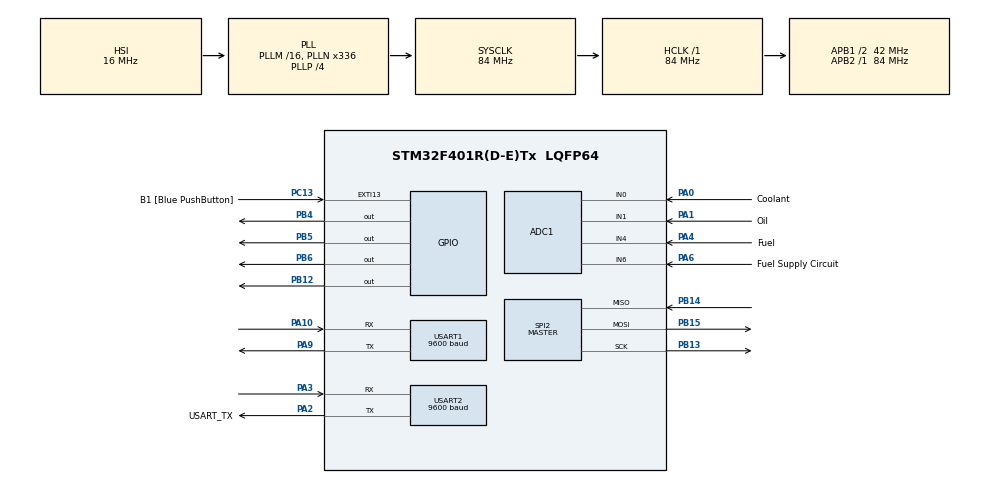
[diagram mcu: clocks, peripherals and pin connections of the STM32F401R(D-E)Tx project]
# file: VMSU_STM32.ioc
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ADC1.Channel-0\#ChannelRegularConversion=ADC_CHANNEL_0
ADC1.Channel-5\#ChannelRegularConversion=ADC_CHANNEL_1
ADC1.Channel-6\#ChannelRegularConversion=ADC_CHANNEL_4
ADC1.Channel-7\#ChannelRegularConversion=ADC_CHANNEL_6
ADC1.Channel-8\#ChannelRegularConversion=ADC_CHANNEL_VREFINT
ADC1.ClockPrescaler=ADC_CLOCK_SYNC_PCLK_DIV4
ADC1.ContinuousConvMode=ENABLE
ADC1.DMAContinuousRequests=ENABLE
ADC1.NbrOfConversion=5
ADC1.NbrOfConversionFlag=1
ADC1.Rank-0\#ChannelRegularConversion=1
ADC1.Rank-5\#ChannelRegularConversion=2
ADC1.Rank-6\#ChannelRegularConversion=3
ADC1.Rank-7\#ChannelRegularConversion=4
ADC1.Rank-8\#ChannelRegularConversion=5
ADC1.SamplingTime-0\#ChannelRegularConversion=ADC_SAMPLETIME_84CYCLES
ADC1.SamplingTime-5\#ChannelRegularConversion=ADC_SAMPLETIME_84CYCLES
ADC1.SamplingTime-6\#ChannelRegularConversion=ADC_SAMPLETIME_84CYCLES
ADC1.SamplingTime-7\#ChannelRegularConversion=ADC_SAMPLETIME_84CYCLES
ADC1.SamplingTime-8\#ChannelRegularConversion=ADC_SAMPLETIME_3CYCLES
ADC1.master=1
Dma.ADC1.0.Direction=DMA_PERIPH_TO_MEMORY
Dma.ADC1.0.FIFOMode=DMA_FIFOMODE_DISABLE
Dma.ADC1.0.Instance=DMA2_Stream0
Dma.ADC1.0.MemDataAlignment=DMA_MDATAALIGN_HALFWORD
Dma.ADC1.0.MemInc=DMA_MINC_ENABLE
Dma.ADC1.0.Mode=DMA_CIRCULAR
Dma.ADC1.0.PeriphDataAlignment=DMA_PDATAALIGN_HALFWORD
Dma.ADC1.0.PeriphInc=DMA_PINC_DISABLE
Dma.ADC1.0.Priority=DMA_PRIORITY_LOW
Dma.Request0=ADC1
Mcu.Family=STM32F4
Mcu.Name=STM32F401R(D-E)Tx
Mcu.Package=LQFP64
NVIC.DMA2_Stream0_IRQn=true\:0\:0\:false\:false\:true\:false\:true\:true
NVIC.PriorityGroup=NVIC_PRIORITYGROUP_4
NVIC.USART1_IRQn=true\:0\:0\:false\:false\:true\:true\:true\:true
PA0-WKUP.GPIO_Label=Coolant
PA0-WKUP.Signal=ADCx_IN0
PA1.GPIO_Label=Oil
PA1.Signal=ADCx_IN1
PA10.Mode=Asynchronous
PA10.Signal=USART1_RX
PA13.GPIO_Label=TMS
PA13.Signal=SYS_JTMS-SWDIO
PA14.GPIO_Label=TCK
PA14.Signal=SYS_JTCK-SWCLK
PA2.GPIO_Label=USART_TX
PA2.GPIO_Mode=GPIO_MODE_AF_PP
PA2.GPIO_PuPd=GPIO_NOPULL
PA2.GPIO_Speed=GPIO_SPEED_FREQ_VERY_HIGH
PA2.Mode=Asynchronous
PA2.Signal=USART2_TX
PA3.Mode=Asynchronous
PA3.Signal=USART2_RX
PA4.GPIO_Label=Fuel
PA4.Signal=ADCx_IN4
PA6.GPIO_Label=Fuel Supply Circuit
PA6.Signal=ADCx_IN6
PA9.Mode=Asynchronous
PA9.Signal=USART1_TX
PB12.Signal=GPIO_Output
PB13.Mode=Full_Duplex_Master
PB13.Signal=SPI2_SCK
PB14.Mode=Full_Duplex_Master
PB14.Signal=SPI2_MISO
PB15.Mode=Full_Duplex_Master
PB15.Signal=SPI2_MOSI
PB4.Signal=GPIO_Output
PB5.Signal=GPIO_Output
PB6.Signal=GPIO_Output
PC13-ANTI_TAMP.GPIO_Label=B1 [Blue PushButton]
PC13-ANTI_TAMP.GPIO_ModeDefaultEXTI=GPIO_MODE_IT_FALLING
PC13-ANTI_TAMP.GPIO_PuPd=GPIO_NOPULL
PC13-ANTI_TAMP.Signal=GPXTI13
PC14-OSC32_IN.Mode=LSE-External-Oscillator
PC14-OSC32_IN.Signal=RCC_OSC32_IN
PC15-OSC32_OUT.Mode=LSE-External-Oscillator
PC15-OSC32_OUT.Signal=RCC_OSC32_OUT
PH0\ -\ OSC_IN.Mode=HSE-External-Clock-Source
PH0\ -\ OSC_IN.Signal=RCC_OSC_IN
PH1\ -\ OSC_OUT.Mode=HSE-External-Clock-Source
PH1\ -\ OSC_OUT.Signal=RCC_OSC_OUT
ProjectManager.HeapSize=0x200
ProjectManager.StackSize=0x400
ProjectManager.TargetToolchain=STM32CubeIDE
RCC.48MHZClocksFreq_Value=48000000
RCC.AHBFreq_Value=84000000
RCC.APB1CLKDivider=RCC_HCLK_DIV2
RCC.APB1Freq_Value=42000000
RCC.APB1TimFreq_Value=84000000
RCC.APB2Freq_Value=84000000
RCC.APB2TimFreq_Value=84000000
RCC.CortexFreq_Value=84000000
RCC.HCLKFreq_Value=84000000
RCC.HSE_VALUE=8000000
RCC.HSI_VALUE=16000000
RCC.PLLN=336
RCC.PLLP=RCC_PLLP_DIV4
RCC.PLLQ=7
RCC.SYSCLKFreq_VALUE=84000000
RCC.SYSCLKSource=RCC_SYSCLKSOURCE_PLLCLK
RCC.VCOOutputFreq_Value=336000000
SH.ADCx_IN0.0=ADC1_IN0,IN0
SH.ADCx_IN1.0=ADC1_IN1,IN1
SH.ADCx_IN4.0=ADC1_IN4,IN4
SH.ADCx_IN6.0=ADC1_IN6,IN6
SPI2.BaudRatePrescaler=SPI_BAUDRATEPRESCALER_256
SPI2.Direction=SPI_DIRECTION_2LINES
SPI2.Mode=SPI_MODE_MASTER
SPI2.VirtualType=VM_MASTER
USART1.BaudRate=9600
USART1.VirtualMode=VM_ASYNC
USART2.BaudRate=9600
USART2.VirtualMode=VM_ASYNC
VP_ADC1_Vref_Input.Mode=IN-Vrefint
VP_FATFS_VS_Generic.Mode=User_defined
board=NUCLEO-F401RE

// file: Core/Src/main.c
/* USER CODE BEGIN Header */
/**
 ******************************************************************************
 * @file           : main.c
 * @brief          : Main program body
 ******************************************************************************
 * @attention
 *
 * Copyright (c) 2025 STMicroelectronics.
 * All rights reserved.
 *
 * This software is licensed under terms that can be found in the LICENSE file
 * in the root directory of this software component.
 * If no LICENSE file comes with this software, it is provided AS-IS.
 *
 *******************************************************************************
 *
 * Vehicle Monitoring & Switching Unit
 * Wichita State University Senior Design Project, Spring 2026
 *
 *		Electrical Engineering: Silas Salano
 *		Computer Engineering: David Koffi, William Dirnbeck
 *		Programming Team: David Koffi, William Dirnbeck
 *
 *VDBL
 *
 ******************************************************************************
 */
/* USER CODE END Header */
#include "main.h"
#include "fatfs.h"

/* USER CODE BEGIN Includes */
#include "hardware_config.h"
#include "string.h"
#include "logger.h"
#include "stdio.h"
#include <math.h>
#include <inttypes.h>
#include <stdbool.h>
#include <stdint.h>

/* USER CODE END Includes */

/* USER CODE BEGIN PM */
#define WINDOW 10

/* USER CODE END PM */

ADC_HandleTypeDef hadc1;
DMA_HandleTypeDef hdma_adc1;

SPI_HandleTypeDef hspi2;

UART_HandleTypeDef huart1;
UART_HandleTypeDef huart2;

/* USER CODE BEGIN PV */
static logger_t g_logger;

uint16_t vref_cal;
float vsref;
uint16_t values_adc[5];

//TODO: Test initializing thse at nominal values so the alert screen does not appear on boot-up
float oil_pressure;
float coolant_temp;
float fuel_quantity;

float coolant_voltage;
float pressure_voltage;
float testres1;
float vfref;

//ALERT
bool coolant_alert_active = false;
bool oil_alert_active = false;
bool fuel_alert_active = false;

// --- Nextion RX parser (expects: 'S' '0-2' '=' + 4-byte little endian val) ---
static uint8_t nx_rx_byte;

typedef enum {
  NX_WAIT_S,
  NX_WAIT_ID,
  NX_WAIT_EQ,
  NX_VAL0,
  NX_VAL1,
  NX_VAL2,
  NX_VAL3
} NX_State_t;

static NX_State_t nx_state = NX_WAIT_S;
static uint8_t nx_switch_id = 0;
static uint32_t nx_val = 0;

/* USER CODE END PV */

void SystemClock_Config(void);
static void MX_GPIO_Init(void);
static void MX_DMA_Init(void);
static void MX_USART2_UART_Init(void);
static void MX_USART1_UART_Init(void);
static void MX_ADC1_Init(void);
static void MX_SPI2_Init(void);

/* USER CODE BEGIN 0 */

#define SIG1_GPIO_Port GPIOB
#define SIG1_Pin       GPIO_PIN_4

#define SIG2_GPIO_Port GPIOB
#define SIG2_Pin       GPIO_PIN_5

#define SIG3_GPIO_Port GPIOB
#define SIG3_Pin       GPIO_PIN_6

// ---------------------------------------------
/*

static void sd_basic_test(void)
{
  DSTATUS st = disk_initialize(0);

  FRESULT r_mount, r_open, r_write, r_sync, r_close;
  FIL file;
  UINT bw = 0;

  r_mount = f_mount(&USERFatFS, (TCHAR const*)USERPath, 1);

  char path[32];
  sprintf(path, "%s/module.txt", USERPath);   // yields "0:/test.txt"

  r_open  = (r_mount == FR_OK) ? f_open(&file, path, FA_CREATE_ALWAYS | FA_WRITE) : r_mount;
  r_write = (r_open  == FR_OK) ? f_write(&file, "Hello from STM32!\r\n", 19, &bw) : r_open;
  r_sync  = (r_open  == FR_OK) ? f_sync(&file) : r_open;
  r_close = (r_open  == FR_OK) ? f_close(&file) : r_open;

  // Put breakpoint here and inspect:
  // st, r_mount, r_open, r_write, r_sync, r_close, bw
  (void)st; (void)r_mount; (void)r_open; (void)r_write; (void)r_sync; (void)r_close;
}

*/

static void ApplySwitch(uint8_t id, uint32_t v)
{
  GPIO_PinState ps = (v ? GPIO_PIN_SET : GPIO_PIN_RESET);

  switch (id)
  {
    case 0: HAL_GPIO_WritePin(SIG1_GPIO_Port, SIG1_Pin, ps); break; // S0 -> SIGNAL1
    case 1: HAL_GPIO_WritePin(SIG2_GPIO_Port, SIG2_Pin, ps); break; // S1 -> SIGNAL2
    case 2: HAL_GPIO_WritePin(SIG3_GPIO_Port, SIG3_Pin, ps); break; // S2 -> SIGNAL3
    default: break;
  }
}

static void Nextion_ParseByte(uint8_t b)
{
  switch (nx_state)
  {
    case NX_WAIT_S:
      if (b == 'S') nx_state = NX_WAIT_ID;
      break;

    case NX_WAIT_ID:
      if (b >= '0' && b <= '2') {
        nx_switch_id = (uint8_t)(b - '0');
        nx_state = NX_WAIT_EQ;
      } else {
        nx_state = NX_WAIT_S;
      }
      break;

    case NX_WAIT_EQ:
      if (b == '=') {
        nx_val = 0;
        nx_state = NX_VAL0;
      } else {
        nx_state = NX_WAIT_S;
      }
      break;

    case NX_VAL0:
      nx_val |= ((uint32_t)b << 0);
      nx_state = NX_VAL1;
      break;

    case NX_VAL1:
      nx_val |= ((uint32_t)b << 8);
      nx_state = NX_VAL2;
      break;

    case NX_VAL2:
      nx_val |= ((uint32_t)b << 16);
      nx_state = NX_VAL3;
      break;

    case NX_VAL3:
      nx_val |= ((uint32_t)b << 24);

      // Full message received: Sx= + 4 bytes
      ApplySwitch(nx_switch_id, nx_val);

      // Reset to look for next message
      nx_state = NX_WAIT_S;
      break;

    default:
      nx_state = NX_WAIT_S;
      break;
  }
}

uint8_t Cmd_End[3] = { 0xFF, 0xFF, 0xFF };

//Function for sending numerical values to the display
void NEXTION_SendTemp(const char *ID, float value) {

	char buf[50];
	int len = sprintf(buf, "%s.txt=\"%.0f F\"", ID, value);
	HAL_UART_Transmit(&huart1, (uint8_t*) buf, len, 1000);
	HAL_UART_Transmit(&huart1, Cmd_End, 3, 100);
}

void NEXTION_SendPressure(const char *ID, float value) {

	char buf[50];
	int len = sprintf(buf, "%s.txt=\"%.2f\"", ID, value);
	HAL_UART_Transmit(&huart1, (uint8_t*) buf, len, 1000);
	HAL_UART_Transmit(&huart1, Cmd_End, 3, 100);
}

void NEXTION_SendFuel(const char *ID, float value) {

	char buf[50];
	int len = sprintf(buf, "%s.txt=\"%.0f\"", ID, value);
	HAL_UART_Transmit(&huart1, (uint8_t*) buf, len, 1000);
	HAL_UART_Transmit(&huart1, Cmd_End, 3, 100);
}

//Function for sending strings to the display
void NEXTION_SendMsg(const char *ID, const char *msg) {

	char buf[50];
	int len = sprintf(buf, "%s.txt=\"%s\"", ID, msg);
	HAL_UART_Transmit(&huart1, (uint8_t*) buf, len, 1000);
	HAL_UART_Transmit(&huart1, Cmd_End, 3, 100);
}

// ALERT PAGE TRIGGER
void NEXTION_GotoPage(const char *page) {
    char buf[30];
    int len = sprintf(buf, "page %s", page);
    HAL_UART_Transmit(&huart1, (uint8_t*)buf, len, 1000);
    HAL_UART_Transmit(&huart1, Cmd_End, 3, 100);
}

///Calulates the temperature of the cherokee temperture sensor given the voltage across the sensor.
float CalculateTemp(float coolant_v){

	float coolant_ohms, coolant_degk, coolant_degf;

	coolant_ohms = COOLANT_DIVIDER_R_HIGH_OHMS * ((coolant_v) / (3.3 - coolant_v));

	//Steinhart-hart equation using coefficients derived from FSM. Accurate between 100 and 260 degrees F.
	coolant_degk = 1 / ( 0.001180677409 + 0.0003505018927*log(coolant_ohms) - 0.000001315104928*pow(log(coolant_ohms), 3) );

	coolant_degf = (coolant_degk - 273.15) * 1.8f + 32.0f;

	return coolant_degf;

};

//Calulates the pressure of the cherokee oil pressure transduce given the voltage across the sensor.
float CalculatePressure(float oilpres_v){

	//TODO: I had a note here to "Fix everything, change formula to include overages on graph" from SD1.
	//Not too sure what I meant, Will monitor.

	float oilpres_ohms, oilpres_psi;

	oilpres_ohms = -1 * OIL_DIVIDER_R_HIGH_OHMS * ((oilpres_v) / (oilpres_v - 3.3));

	oilpres_psi = -0.002596559558585 * pow(oilpres_ohms, 2) + 1.311587147030185 * oilpres_ohms - 1.308990587471600;

	if(oilpres_v > 0.02){

		return oilpres_psi;

	}else{

		return 0;

	}
};

float CalculateFuelQuantity(float sref_v, float fref_v){

	float supply_v, sender_v, sender_ohms, fuel_quantity;

	//Tuneable offset values
	float vs_comp = 0.5;
	float sender_comp = -15;

	//vs is voltage supplied to guage cluster.
	supply_v = (sref_v * ((SUPPLY_DIVIDER_R_HIGH_OHMS + SUPPLY_DIVIDER_R_LOW_OHMS) / SUPPLY_DIVIDER_R_LOW_OHMS)) + vs_comp;

	//vf is the voltage drop across the guage cluster that changes due to the resistance of the fuel sender
	sender_v = (fref_v * (FUEL_DIVIDER_R_HIGH_OHMS + FUEL_DIVIDER_R_LOW_OHMS)) / FUEL_DIVIDER_R_LOW_OHMS;

	sender_ohms = FUEL_GUAGE_R_OHMS * (sender_v / (supply_v - sender_v));

	fuel_quantity = (0.0056 * pow(sender_ohms, 2)) + (-0.7850 * sender_ohms) + 27.2869;

	return fuel_quantity;

	//TODO: actually make this send fuel quantity and not just the resistance

};
/* USER CODE END 0 */

int main(void)
{

  /* MCU Configuration--------------------------------------------------------*/

  /* Reset of all peripherals, Initializes the Flash interface and the Systick. */
  HAL_Init();

  /* Configure the system clock */
  SystemClock_Config();

  /* Initialize all configured peripherals */
  MX_GPIO_Init();
  MX_DMA_Init();
  MX_USART2_UART_Init();
  MX_USART1_UART_Init();
  MX_ADC1_Init();
  MX_SPI2_Init();
  MX_FATFS_Init();
  /* USER CODE BEGIN 2 */

		FRESULT log_init = logger_init(&g_logger, &USERFatFS, USERPath, "log.csv");
		(void)log_init;
		// Optional: show result on Nextion if you want
		// char m[32]; sprintf(m,"log_init=%d",(int)log_init); NEXTION_SendMsg("page1.t1", m);

		HAL_ADC_Start_DMA(&hadc1, (uint32_t*)values_adc, 5);
		HAL_UART_Receive_IT(&huart1, &nx_rx_byte, 1);

  /* USER CODE END 2 */

  /* Infinite loop */
  /* USER CODE BEGIN WHILE */

	//float cadc_sum = 0;

		while (1) {

			//Reading in all sensor ADC values and converting to input voltage.
			coolant_voltage = values_adc[0] * (3.3f / 4095.0f);
			pressure_voltage = values_adc[1] * (3.3f / 4095.0f);
			vfref = values_adc[2] * (3.3f / 4095.0f) ;
			vsref = values_adc[3] * (3.3f / 4095.0f);

			fuel_quantity = CalculateFuelQuantity(vsref, vfref);
			coolant_temp = CalculateTemp(coolant_voltage);
			oil_pressure = CalculatePressure(pressure_voltage);

			if (coolant_temp < 100)
			{
			    if (!coolant_alert_active)
			    {
			        coolant_alert_active = true;
			        NEXTION_GotoPage("page5");
			        HAL_Delay(100);
			        NEXTION_SendMsg("page5.t0", "Coolant < 100F");
			        NEXTION_SendTemp("page4.t0", coolant_temp);
			    }
			}
			else if (coolant_temp > 212)
			{
			    if (!coolant_alert_active)
			    {
			        coolant_alert_active = true;
			        NEXTION_GotoPage("page5");
			        HAL_Delay(100);
			        NEXTION_SendMsg("page5.t0", "Coolant > 212F");
			        NEXTION_SendTemp("page4.t0", coolant_temp);
			    }
			}
			else
			{
			    coolant_alert_active = false;
			    NEXTION_SendTemp("page4.t0", coolant_temp);
			    HAL_Delay(250);
			}

			if (oil_pressure <= 0)
			{
			    if (!oil_alert_active)
			    {
			        oil_alert_active = true;
			        NEXTION_GotoPage("page5");
			        HAL_Delay(100);
			        NEXTION_SendMsg("page5.t0", "Oil Press = 0 PSI");
			        NEXTION_SendPressure("page3.t0", oil_pressure);
			    }
			}
			else if (oil_pressure > 87)
			{
			    if (!oil_alert_active)
			    {
			        oil_alert_active = true;
			        NEXTION_GotoPage("page5");
			        HAL_Delay(100);
			        NEXTION_SendMsg("page5.t0", "Oil Pressure > 87 PSI");
			        NEXTION_SendPressure("page3.t0", oil_pressure);
			    }
			}
			else
			{
			    oil_alert_active = false;
			    NEXTION_SendPressure("page3.t0", oil_pressure);
			    HAL_Delay(250);
			}

			if (fuel_quantity <= 0)
			{
			    if (!fuel_alert_active)
			    {
			        fuel_alert_active = true;
			        NEXTION_GotoPage("page5");
			        HAL_Delay(100);
			        NEXTION_SendMsg("page5.t0", "Fuel Low!");
			    }
			}
			else
			{
			    fuel_alert_active = false;
			    NEXTION_SendFuel("page2.t0", fuel_quantity);
			    HAL_Delay(250);
			}

/*
			logger_task(&g_logger,
			            HAL_GetTick(),
			            0UL,
			            coolant_temp,
			            oil_pressure,
			            fuel_quantity);   // fuel placeholder for now
*/

			logger_task(&g_logger,
			            HAL_GetTick(),
			            0UL,
			            185.5f,     // fake coolant temp
			            42.3f,      // fake oil pressure
			            63.7f);     // fake fuel level

			//G--31:11

    /* USER CODE END WHILE */

		}
}

void SystemClock_Config(void)
{
  RCC_OscInitTypeDef RCC_OscInitStruct = {0};
  RCC_ClkInitTypeDef RCC_ClkInitStruct = {0};

  /** Configure the main internal regulator output voltage
  */
  __HAL_RCC_PWR_CLK_ENABLE();
  __HAL_PWR_VOLTAGESCALING_CONFIG(PWR_REGULATOR_VOLTAGE_SCALE2);

  /** Initializes the RCC Oscillators according to the specified parameters
  * in the RCC_OscInitTypeDef structure.
  */
  RCC_OscInitStruct.OscillatorType = RCC_OSCILLATORTYPE_HSI;
  RCC_OscInitStruct.HSIState = RCC_HSI_ON;
  RCC_OscInitStruct.HSICalibrationValue = RCC_HSICALIBRATION_DEFAULT;
  RCC_OscInitStruct.PLL.PLLState = RCC_PLL_ON;
  RCC_OscInitStruct.PLL.PLLSource = RCC_PLLSOURCE_HSI;
  RCC_OscInitStruct.PLL.PLLM = 16;
  RCC_OscInitStruct.PLL.PLLN = 336;
  RCC_OscInitStruct.PLL.PLLP = RCC_PLLP_DIV4;
  RCC_OscInitStruct.PLL.PLLQ = 7;
  if (HAL_RCC_OscConfig(&RCC_OscInitStruct) != HAL_OK)
  {
    Error_Handler();
  }

  /** Initializes the CPU, AHB and APB buses clocks
  */
  RCC_ClkInitStruct.ClockType = RCC_CLOCKTYPE_HCLK|RCC_CLOCKTYPE_SYSCLK
                              |RCC_CLOCKTYPE_PCLK1|RCC_CLOCKTYPE_PCLK2;
  RCC_ClkInitStruct.SYSCLKSource = RCC_SYSCLKSOURCE_PLLCLK;
  RCC_ClkInitStruct.AHBCLKDivider = RCC_SYSCLK_DIV1;
  RCC_ClkInitStruct.APB1CLKDivider = RCC_HCLK_DIV2;
  RCC_ClkInitStruct.APB2CLKDivider = RCC_HCLK_DIV1;

  if (HAL_RCC_ClockConfig(&RCC_ClkInitStruct, FLASH_LATENCY_2) != HAL_OK)
  {
    Error_Handler();
  }
}

static void MX_ADC1_Init(void)
{

  ADC_ChannelConfTypeDef sConfig = {0};

  /** Configure the global features of the ADC (Clock, Resolution, Data Alignment and number of conversion)
  */
  hadc1.Instance = ADC1;
  hadc1.Init.ClockPrescaler = ADC_CLOCK_SYNC_PCLK_DIV4;
  hadc1.Init.Resolution = ADC_RESOLUTION_12B;
  hadc1.Init.ScanConvMode = ENABLE;
  hadc1.Init.ContinuousConvMode = ENABLE;
  hadc1.Init.DiscontinuousConvMode = DISABLE;
  hadc1.Init.ExternalTrigConvEdge = ADC_EXTERNALTRIGCONVEDGE_NONE;
  hadc1.Init.ExternalTrigConv = ADC_SOFTWARE_START;
  hadc1.Init.DataAlign = ADC_DATAALIGN_RIGHT;
  hadc1.Init.NbrOfConversion = 5;
  hadc1.Init.DMAContinuousRequests = ENABLE;
  hadc1.Init.EOCSelection = ADC_EOC_SINGLE_CONV;
  if (HAL_ADC_Init(&hadc1) != HAL_OK)
  {
    Error_Handler();
  }

  /** Configure for the selected ADC regular channel its corresponding rank in the sequencer and its sample time.
  */
  sConfig.Channel = ADC_CHANNEL_0;
  sConfig.Rank = 1;
  sConfig.SamplingTime = ADC_SAMPLETIME_84CYCLES;
  if (HAL_ADC_ConfigChannel(&hadc1, &sConfig) != HAL_OK)
  {
    Error_Handler();
  }

  /** Configure for the selected ADC regular channel its corresponding rank in the sequencer and its sample time.
  */
  sConfig.Channel = ADC_CHANNEL_1;
  sConfig.Rank = 2;
  if (HAL_ADC_ConfigChannel(&hadc1, &sConfig) != HAL_OK)
  {
    Error_Handler();
  }

  /** Configure for the selected ADC regular channel its corresponding rank in the sequencer and its sample time.
  */
  sConfig.Channel = ADC_CHANNEL_4;
  sConfig.Rank = 3;
  if (HAL_ADC_ConfigChannel(&hadc1, &sConfig) != HAL_OK)
  {
    Error_Handler();
  }

  /** Configure for the selected ADC regular channel its corresponding rank in the sequencer and its sample time.
  */
  sConfig.Channel = ADC_CHANNEL_6;
  sConfig.Rank = 4;
  if (HAL_ADC_ConfigChannel(&hadc1, &sConfig) != HAL_OK)
  {
    Error_Handler();
  }

  /** Configure for the selected ADC regular channel its corresponding rank in the sequencer and its sample time.
  */
  sConfig.Channel = ADC_CHANNEL_VREFINT;
  sConfig.Rank = 5;
  sConfig.SamplingTime = ADC_SAMPLETIME_3CYCLES;
  if (HAL_ADC_ConfigChannel(&hadc1, &sConfig) != HAL_OK)
  {
    Error_Handler();
  }

}

static void MX_SPI2_Init(void)
{

  /* SPI2 parameter configuration*/
  hspi2.Instance = SPI2;
  hspi2.Init.Mode = SPI_MODE_MASTER;
  hspi2.Init.Direction = SPI_DIRECTION_2LINES;
  hspi2.Init.DataSize = SPI_DATASIZE_8BIT;
  hspi2.Init.CLKPolarity = SPI_POLARITY_LOW;
  hspi2.Init.CLKPhase = SPI_PHASE_1EDGE;
  hspi2.Init.NSS = SPI_NSS_SOFT;
  hspi2.Init.BaudRatePrescaler = SPI_BAUDRATEPRESCALER_256;
  hspi2.Init.FirstBit = SPI_FIRSTBIT_MSB;
  hspi2.Init.TIMode = SPI_TIMODE_DISABLE;
  hspi2.Init.CRCCalculation = SPI_CRCCALCULATION_DISABLE;
  hspi2.Init.CRCPolynomial = 10;
  if (HAL_SPI_Init(&hspi2) != HAL_OK)
  {
    Error_Handler();
  }

}

static void MX_USART1_UART_Init(void)
{

  huart1.Instance = USART1;
  huart1.Init.BaudRate = 9600;
  huart1.Init.WordLength = UART_WORDLENGTH_8B;
  huart1.Init.StopBits = UART_STOPBITS_1;
  huart1.Init.Parity = UART_PARITY_NONE;
  huart1.Init.Mode = UART_MODE_TX_RX;
  huart1.Init.HwFlowCtl = UART_HWCONTROL_NONE;
  huart1.Init.OverSampling = UART_OVERSAMPLING_16;
  if (HAL_UART_Init(&huart1) != HAL_OK)
  {
    Error_Handler();
  }

}

static void MX_USART2_UART_Init(void)
{

  huart2.Instance = USART2;
  huart2.Init.BaudRate = 9600;
  huart2.Init.WordLength = UART_WORDLENGTH_8B;
  huart2.Init.StopBits = UART_STOPBITS_1;
  huart2.Init.Parity = UART_PARITY_NONE;
  huart2.Init.Mode = UART_MODE_TX_RX;
  huart2.Init.HwFlowCtl = UART_HWCONTROL_NONE;
  huart2.Init.OverSampling = UART_OVERSAMPLING_16;
  if (HAL_UART_Init(&huart2) != HAL_OK)
  {
    Error_Handler();
  }

}

static void MX_DMA_Init(void)
{

  /* DMA controller clock enable */
  __HAL_RCC_DMA2_CLK_ENABLE();

  /* DMA interrupt init */
  /* DMA2_Stream0_IRQn interrupt configuration */
  HAL_NVIC_SetPriority(DMA2_Stream0_IRQn, 0, 0);
  HAL_NVIC_EnableIRQ(DMA2_Stream0_IRQn);

}

static void MX_GPIO_Init(void)
{
  GPIO_InitTypeDef GPIO_InitStruct = {0};

  /* GPIO Ports Clock Enable */
  __HAL_RCC_GPIOC_CLK_ENABLE();
  __HAL_RCC_GPIOH_CLK_ENABLE();
  __HAL_RCC_GPIOA_CLK_ENABLE();
  __HAL_RCC_GPIOB_CLK_ENABLE();

  /*Configure GPIO pin Output Level */
  HAL_GPIO_WritePin(GPIOB, GPIO_PIN_4|GPIO_PIN_5|GPIO_PIN_6, GPIO_PIN_RESET);
  HAL_GPIO_WritePin(GPIOB, GPIO_PIN_12, GPIO_PIN_SET); // SD CS idle HIGH

  /*Configure GPIO pin : B1_Pin */
  GPIO_InitStruct.Pin = B1_Pin;
  GPIO_InitStruct.Mode = GPIO_MODE_IT_FALLING;
  GPIO_InitStruct.Pull = GPIO_NOPULL;
  HAL_GPIO_Init(B1_GPIO_Port, &GPIO_InitStruct);

  /*Configure GPIO pins : PB12 PB4 PB5 PB6 */
  GPIO_InitStruct.Pin = GPIO_PIN_12|GPIO_PIN_4|GPIO_PIN_5|GPIO_PIN_6;
  GPIO_InitStruct.Mode = GPIO_MODE_OUTPUT_PP;
  GPIO_InitStruct.Pull = GPIO_NOPULL;
  GPIO_InitStruct.Speed = GPIO_SPEED_FREQ_LOW;
  HAL_GPIO_Init(GPIOB, &GPIO_InitStruct);

}

/* USER CODE BEGIN 4 */
void HAL_UART_RxCpltCallback(UART_HandleTypeDef *huart)
{
  if (huart->Instance == USART1)
  {

    Nextion_ParseByte(nx_rx_byte);

    // Re-arm interrupt to receive next byte
    HAL_UART_Receive_IT(&huart1, &nx_rx_byte, 1);
  }
}

/* USER CODE END 4 */

void Error_Handler(void)
{
		__disable_irq();
}
